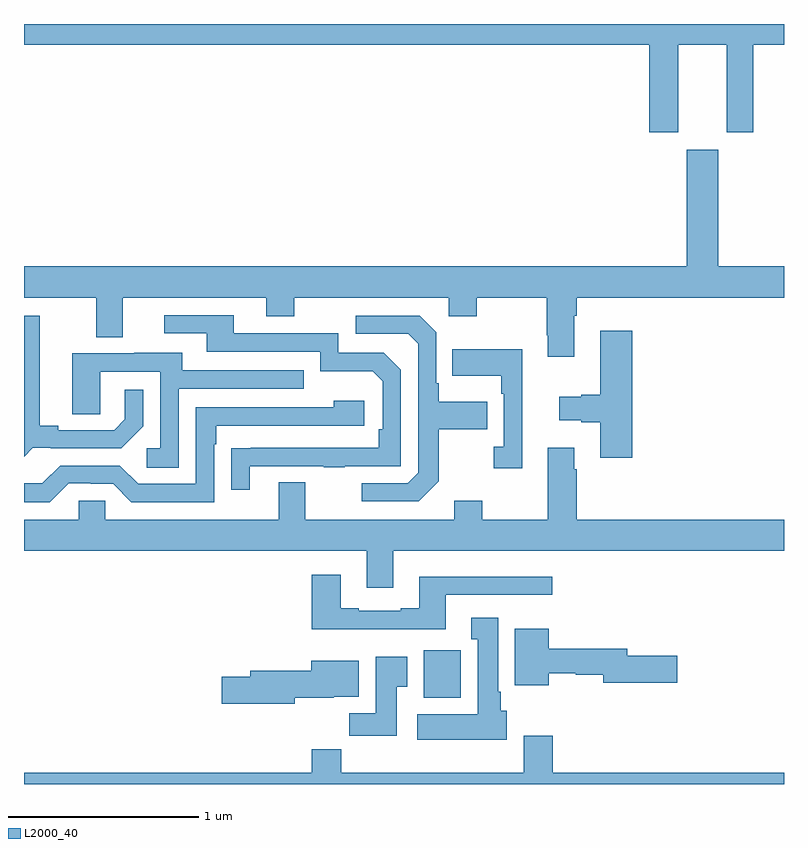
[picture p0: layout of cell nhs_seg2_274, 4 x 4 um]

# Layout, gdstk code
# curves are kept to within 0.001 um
import gdstk
lib = gdstk.Library(unit=1e-6, precision=1e-09)
def R(c, l, rs):  # rectangles x0, y0, x1, y1
    for r in rs: c.add(gdstk.rectangle(r[:2], r[2:], *l))
def P(c, l, *ps):  # polygons
    for p in ps: c.add(gdstk.Polygon(p, *l))
L2000_40 = (2000, 40)

nhs_seg2_274 = lib.new_cell('nhs_seg2_274')
R(nhs_seg2_274, L2000_40, [(127.103,588.254,127.299,588.505)])
P(nhs_seg2_274, L2000_40, [(128.443,591.692),(128.699,591.692),(128.699,591.231),(128.839,591.231),(128.839,591.692),(129,591.692),(129,591.8),(125,591.8),(125,591.692),(128.291,591.692),(128.291,591.231),(128.443,591.231)],
  [(127.897,590.264),(127.91,590.264),(127.91,590.36),(129,590.36),(129,590.524),(128.653,590.524),(128.653,591.139),(128.489,591.139),(128.489,590.524),(125,590.524),(125,590.36),(125.381,590.36),(125.381,590.152),(125.521,590.152),(125.521,590.36),(126.275,590.36),(126.275,590.261),(126.423,590.261),(126.423,590.36),(127.236,590.36),(127.236,590.261),(127.383,590.261),(127.383,590.36),(127.75,590.36),(127.75,590.161),(127.757,590.161),(127.757,590.049),(127.897,590.049)],
  [(126.187,589.473),(126.577,589.473),(126.577,589.468),(126.689,589.468),(126.689,589.473),(126.984,589.473),(126.984,589.98),(126.894,590.07),(126.654,590.07),(126.654,590.172),(126.103,590.172),(126.103,590.268),(125.739,590.268),(125.739,590.172),(125.963,590.172),(125.963,590.076),(126.558,590.076),(126.558,589.973),(126.835,589.973),(126.888,589.92),(126.888,589.666),(126.868,589.666),(126.868,589.569),(126.091,589.568),(126.091,589.35),(126.187,589.35)],
  [(125.046,589.569),(125.14,589.569),(125.14,589.566),(125.512,589.566),(125.628,589.682),(125.628,589.876),(125.531,589.876),(125.531,589.719),(125.474,589.662),(125.179,589.662),(125.179,589.685),(125.083,589.685),(125.083,590.265),(125,590.265),(125,589.523)],
  [(127.183,589.393),(127.183,589.666),(127.439,589.666),(127.439,589.813),(127.183,589.813),(127.183,589.909),(127.17,589.909),(127.17,590.178),(127.083,590.265),(126.747,590.265),(126.747,590.169),(127.023,590.169),(127.074,590.118),(127.074,589.437),(127.02,589.383),(126.777,589.383),(126.777,589.287),(127.077,589.287)],
  [(128.201,590.185),(128.033,590.185),(128.033,589.85),(127.934,589.85),(127.934,589.837),(127.818,589.837),(127.818,589.715),(127.934,589.715),(127.934,589.703),(128.033,589.703),(128.033,589.518),(128.201,589.518)],
  [(127.622,590.089),(127.255,590.089),(127.255,589.949),(127.512,589.949),(127.512,589.853),(127.524,589.853),(127.524,589.574),(127.473,589.574),(127.473,589.461),(127.622,589.461)],
  [(125.814,589.881),(126.473,589.881),(126.473,589.977),(125.833,589.977),(125.833,590.071),(125.579,590.071),(125.579,590.067),(125.255,590.067),(125.255,589.747),(125.4,589.747),(125.4,589.971),(125.718,589.971),(125.718,589.566),(125.646,589.566),(125.646,589.465),(125.814,589.465)],
  [(125.235,589.383),(125.351,589.383),(125.351,589.38),(125.469,589.38),(125.565,589.284),(126,589.284),(126,589.589),(126.013,589.589),(126.013,589.686),(126.79,589.686),(126.79,589.816),(126.629,589.816),(126.629,589.782),(125.904,589.782),(125.904,589.38),(125.601,589.38),(125.505,589.476),(125.19,589.476),(125.097,589.383),(125,589.383),(125,589.283),(125.135,589.283)],
  [(126.943,589.028),(129,589.028),(129,589.192),(127.91,589.192),(127.91,589.457),(127.897,589.457),(127.897,589.57),(127.757,589.57),(127.757,589.192),(127.413,589.192),(127.413,589.291),(127.265,589.291),(127.265,589.192),(126.481,589.192),(126.481,589.387),(126.341,589.387),(126.341,589.192),(125.427,589.192),(125.427,589.29),(125.289,589.29),(125.289,589.192),(125,589.192),(125,589.028),(126.803,589.028),(126.803,588.834),(126.943,588.834)],
  [(127.219,588.795),(127.78,588.795),(127.78,588.892),(127.079,588.892),(127.079,588.724),(126.983,588.724),(126.983,588.711),(126.763,588.711),(126.763,588.724),(126.667,588.724),(126.667,588.901),(126.515,588.901),(126.515,588.614),(127.219,588.614)],
  [(127.54,588.186),(127.51,588.186),(127.51,588.286),(127.495,588.286),(127.495,588.676),(127.355,588.676),(127.355,588.563),(127.388,588.563),(127.388,588.166),(127.071,588.166),(127.071,588.032),(127.54,588.032)],
  [(127.762,588.384),(127.905,588.384),(127.905,588.376),(128.048,588.376),(128.048,588.334),(128.437,588.334),(128.437,588.476),(128.176,588.476),(128.176,588.512),(127.762,588.512),(127.762,588.616),(127.583,588.616),(127.583,588.32),(127.762,588.32)],
  [(126.961,588.313),(127.018,588.313),(127.018,588.469),(126.851,588.469),(126.851,588.172),(126.712,588.172),(126.712,588.054),(126.961,588.054)],
  [(126.426,588.254),(126.63,588.254),(126.63,588.26),(126.763,588.26),(126.763,588.448),(126.512,588.448),(126.512,588.395),(126.191,588.395),(126.191,588.365),(126.042,588.365),(126.042,588.223),(126.426,588.223)],
  [(129,587.86),(127.784,587.86),(127.784,588.055),(127.631,588.055),(127.631,587.86),(126.671,587.86),(126.671,587.984),(126.515,587.984),(126.515,587.86),(125,587.86),(125,587.8),(129,587.8)])

lib.write_gds('nhs_seg2_274.gds')
